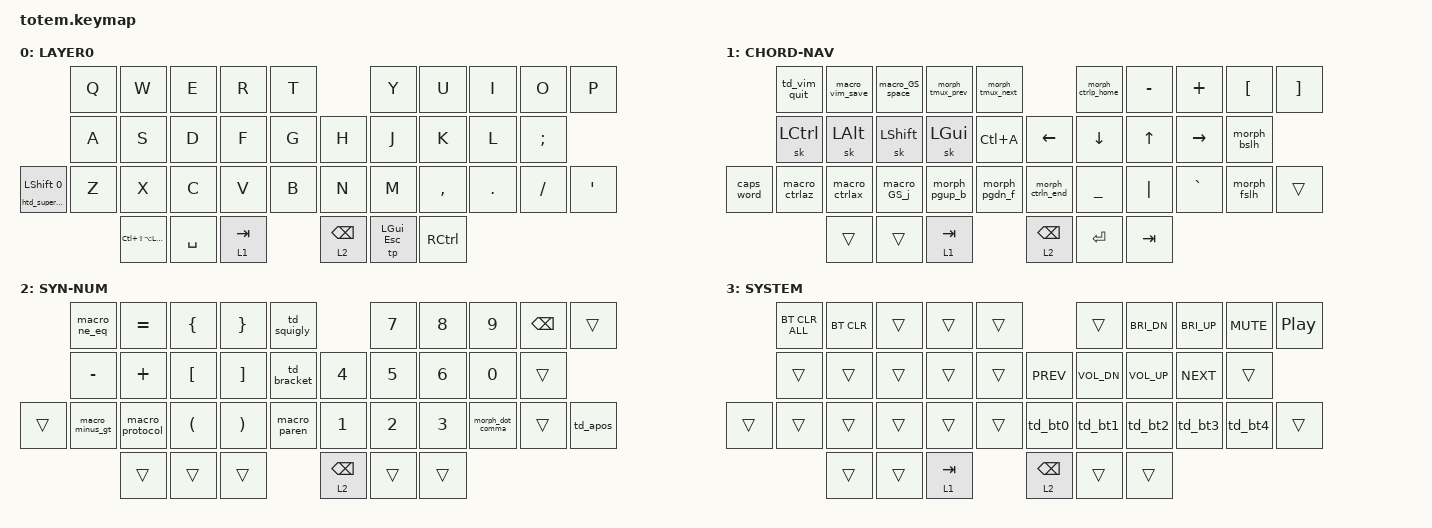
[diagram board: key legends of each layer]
#include <behaviors.dtsi>
#include <dt-bindings/zmk/bt.h>
#include <dt-bindings/zmk/keys.h>
#include "totem_keypos.h"
#include "behaviours.dtsi"
#include "macros.dtsi"

#define _v_ &trans
#define XXX &none

#define HYPER LC(LS(LA(LGUI)))

/ {
    conditional_layers {
        compatible = "zmk,conditional-layers";
        tri_layer {
            if-layers = <1 2>;
            then-layer = <3>;
        };
    };

    keymap {
        compatible = "zmk,keymap";

        layer0 {
            display-name = "LAYER0";
            bindings = <
//                        ╭──────────┬──────────┬──────────┬──────────┬──────────╮   ╭──────────┬──────────┬──────────┬──────────┬──────────╮
                           &kp Q      &kp W      &kp E      &kp R      &kp T          &kp Y      &kp U      &kp I      &kp O      &kp P
//                        ├──────────┼──────────┼──────────┼──────────┼──────────┤   ├──────────┼──────────┼──────────┼──────────┼──────────┤
                           &kp A      &kp S      &kp D      &kp F      &kp G          &kp H      &kp J      &kp K      &kp L      &kp SEMI
// ╭──────────┬───────────┼──────────┼──────────┼──────────┼──────────┼──────────┤   ├──────────┼──────────┼──────────┼──────────┼──────────┼──────────┬──────────╮
&htd_supershift LSHIFT 0  &kp Z      &kp X      &kp C      &kp V      &kp B          &kp N      &kp M      &kp COMMA  &kp DOT    &kp SLASH  &kp APOS
// ╰──────────┴───────────┴──────────┼──────────┼──────────┼──────────┤               ├──────────┼──────────┼──────────┼──────────┴──────────┴──────────╯
                                      &kp HYPER  &kp SPACE  &lt 1 TAB                 &lt 2 BACKSPACE &tp LGUI ESC &kp RCTRL
//                                   ╰──────────┴──────────┴──────────╯               ╰──────────┴──────────┴──────────╯
            >;
        };

        layer1 {
            display-name = "CHORD-NAV";
            bindings = <
//                        ╭──────────┬──────────┬──────────┬──────────┬──────────╮   ╭──────────┬──────────┬──────────┬──────────┬──────────╮
                           &td_vim_quit &macro_vim_save &macro_GS_space &morph_tmux_prev &morph_tmux_next   &morph_ctrlp_home &kp MINUS  &kp PLUS   &kp LBKT   &kp RBKT
//                        ├──────────┼──────────┼──────────┼──────────┼──────────┤   ├──────────┼──────────┼──────────┼──────────┼──────────┤
                           &sk LCTRL  &sk LALT   &sk LSHIFT &sk LGUI   &kp LC(A)      &kp LEFT   &kp DOWN   &kp UP     &kp RIGHT  &morph_bslh
// ╭──────────┬───────────┼──────────┼──────────┼──────────┼──────────┼──────────┤   ├──────────┼──────────┼──────────┼──────────┼──────────┼──────────╮
&caps_word                 &macro_ctrlaz &macro_ctrlax &macro_GS_j &morph_pgup_b &morph_pgdn_f   &morph_ctrln_end &kp UNDER  &kp PIPE   &kp GRAVE  &morph_fslh _v_
// ╰──────────┴───────────┴──────────┼──────────┼──────────┼──────────┤               ├──────────┼──────────┼──────────┼──────────┴──────────┴──────────╯
                                      _v_        _v_        &lt 1 TAB                 &lt 2 BACKSPACE &kp ENTER &kp TAB
//                                   ╰──────────┴──────────┴──────────╯               ╰──────────┴──────────┴──────────╯
            >;
        };

        layer_2 {
            display-name = "SYN-NUM";
            bindings = <
//                        ╭──────────┬──────────┬──────────┬──────────┬──────────╮   ╭──────────┬──────────┬──────────┬──────────┬──────────╮
                           &macro_ne_eq &kp EQUAL &kp LEFT_BRACE &kp RIGHT_BRACE &td_squigly   &kp N7     &kp N8     &kp N9     &kp BACKSPACE _v_
//                        ├──────────┼──────────┼──────────┼──────────┼──────────┤   ├──────────┼──────────┼──────────┼──────────┼──────────┤
                           &kp MINUS  &kp PLUS   &kp LEFT_BRACKET &kp RIGHT_BRACKET &td_bracket  &kp N4     &kp N5     &kp N6     &kp N0     _v_
// ╭──────────┬───────────┼──────────┼──────────┼──────────┼──────────┼──────────┤   ├──────────┼──────────┼──────────┼──────────┼──────────┼──────────╮
_v_                        &macro_minus_gt &macro_protocol &kp LPAR &kp RPAR &macro_paren       &kp N1     &kp N2     &kp N3     &morph_dot_comma _v_  &td_apos
// ╰──────────┴───────────┴──────────┼──────────┼──────────┼──────────┤               ├──────────┼──────────┼──────────┼──────────┴──────────┴──────────╯
                                      _v_        _v_        _v_                       &lt 2 BACKSPACE _v_   _v_
//                                   ╰──────────┴──────────┴──────────╯               ╰──────────┴──────────┴──────────╯
            >;
        };

        layer_3 {
            display-name = "SYSTEM";
            bindings = <
//                        ╭──────────┬──────────┬──────────┬──────────┬──────────╮   ╭──────────┬──────────┬──────────┬──────────┬──────────╮
                           &bt BT_CLR_ALL &bt BT_CLR _v_     _v_        _v_            _v_          &kp C_BRI_DN &kp C_BRI_UP &kp C_MUTE &kp C_PP
//                        ├──────────┼──────────┼──────────┼──────────┼──────────┤   ├──────────┼──────────┼──────────┼──────────┼──────────┤
                           _v_        _v_        _v_        _v_        _v_            &kp C_PREV &kp C_VOL_DN &kp C_VOL_UP &kp C_NEXT _v_
// ╭──────────┬───────────┼──────────┼──────────┼──────────┼──────────┼──────────┤   ├──────────┼──────────┼──────────┼──────────┼──────────┼──────────╮
_v_                        _v_        _v_        _v_        _v_        _v_            &td_bt0    &td_bt1    &td_bt2    &td_bt3    &td_bt4    _v_
// ╰──────────┴───────────┴──────────┼──────────┼──────────┼──────────┤               ├──────────┼──────────┼──────────┼──────────┴──────────┴──────────╯
                                      _v_        _v_        &lt 1 TAB                 &lt 2 BACKSPACE _v_   _v_
//                                   ╰──────────┴──────────┴──────────╯               ╰──────────┴──────────┴──────────╯
            >;
        };
    };
};
